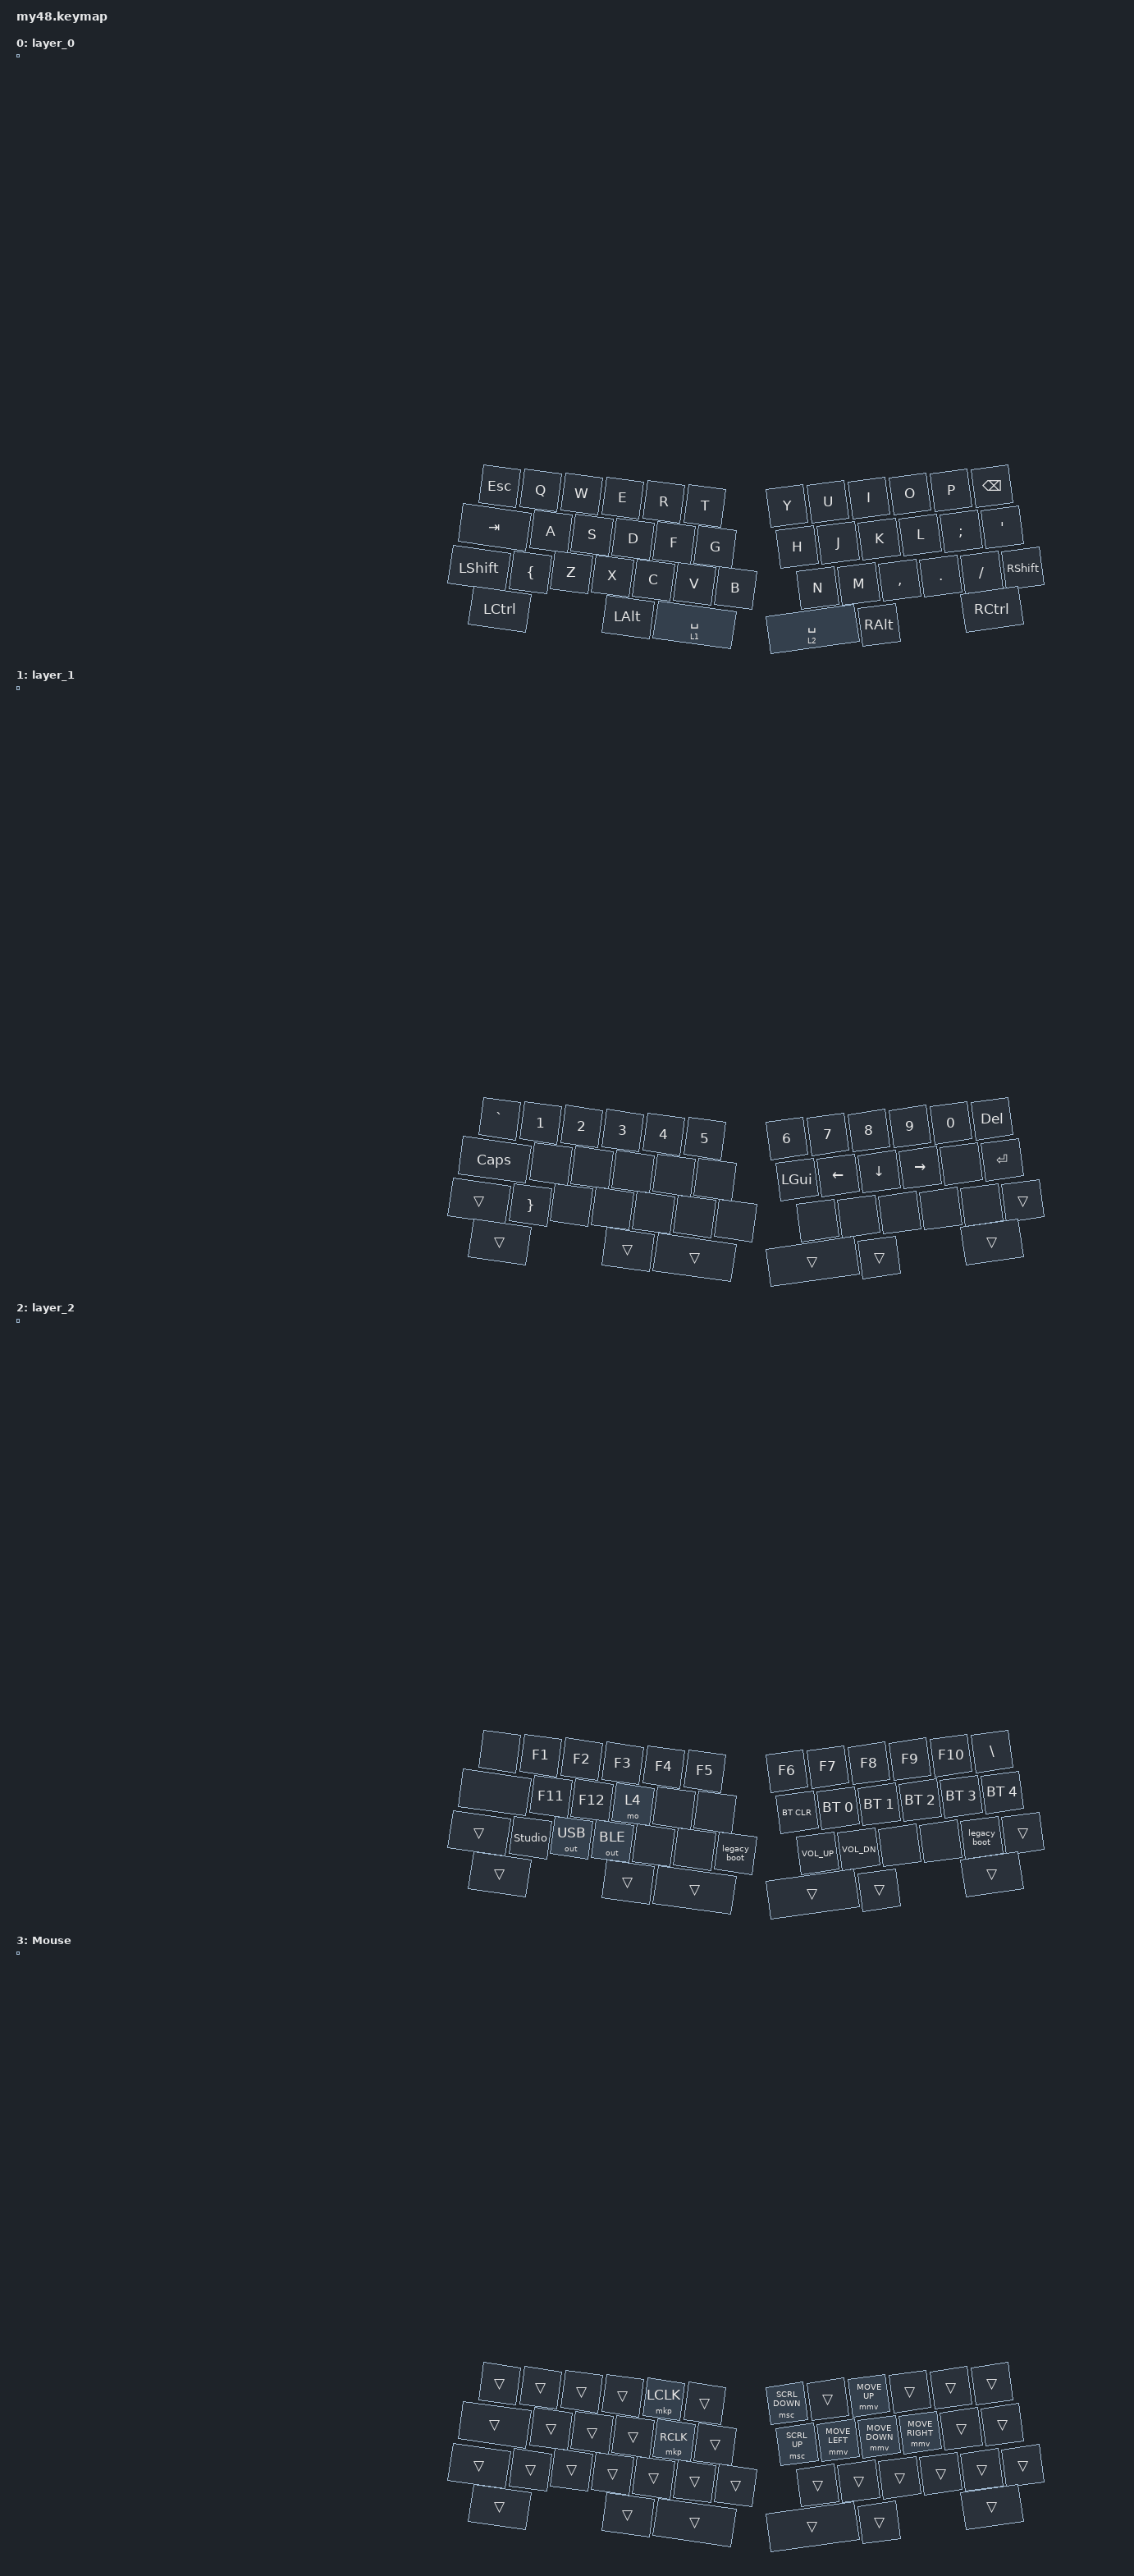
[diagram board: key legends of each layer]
#include <dt-bindings/zmk/keys.h>
#include <dt-bindings/zmk/bt.h>
#include <dt-bindings/zmk/outputs.h>
#include <dt-bindings/zmk/pointing.h>
#include <behaviors.dtsi>

/ {
    behaviors {
        legacy_boot: behavior_legacy_boot {
            compatible = "zmk,behavior-legacy-bootloader";
            display-name = "Legacy Bootloader";
            #binding-cells = <0>;
        };
    };

    keymap {
        compatible = "zmk,keymap";

        layer_0 {
            bindings = <
                &kp ESC &kp Q &kp W &kp E &kp R &kp T &kp Y &kp U &kp I &kp O &kp P &kp BSPC
                &kp TAB &kp A &kp S &kp D &kp F &kp G &kp H &kp J &kp K &kp L &kp SEMI &kp SQT
                &kp LSHFT &kp Z &kp X &kp C &kp V &kp B &kp N &kp M &kp COMMA &kp DOT &kp FSLH &kp RSHFT
                &kp LCTRL &kp LBRC &kp LALT &none &lt 1 SPACE &none &lt 2 SPACE &kp RALT &none &none &none &kp RCTRL
            >;
        };

        layer_1 {
            bindings = <
                &kp GRAVE &kp N1 &kp N2 &kp N3 &kp N4 &kp N5 &kp N6 &kp N7 &kp N8 &kp N9 &kp N0 &kp DEL
                &kp CAPS &none &none &none &none &none &kp LGUI &kp LEFT &kp DOWN &kp RIGHT &none &kp ENTER
                &trans &none &none &none &none &none &none &none &none &none &none &trans
                &trans &kp RBRC &trans &none &trans &none &trans &trans &none &none &none &trans
            >;
        };

        layer_2 {
            bindings = <
                &none &kp F1 &kp F2 &kp F3 &kp F4 &kp F5 &kp F6 &kp F7 &kp F8 &kp F9 &kp F10 &kp BSLH
                &none &kp F11 &kp F12 &mo 4 &none &none &bt BT_CLR &bt BT_SEL 0 &bt BT_SEL 1 &bt BT_SEL 2 &bt BT_SEL 3 &bt BT_SEL 4
                &trans &out OUT_USB &out OUT_BLE &none &none &legacy_boot &kp C_VOL_UP &kp C_VOL_DN &none &none &legacy_boot &trans
                &trans &studio_unlock &trans &none &trans &none &trans &trans &none &none &none &trans
            >;
        };

        // Layers 3-11: reserved for ZMK Studio to configure (mouse keys, etc.)
        layer_3 { status = "reserved"; display-name = "Layer 4"; };
        // Layer 5 (index 4): mouse keys. Parameters are baked in here because
        // ZMK Studio does not expose parameter metadata for &mmv / &msc.
        // Row 0: r=left click, y=scroll down, i=move up
        // Row 1: f=right click, h=scroll up, j=left, k=down, l=right
        layer_4 {
            display-name = "Mouse";
            bindings = <
                &trans &trans &trans &trans &mkp LCLK &trans &msc SCRL_DOWN &trans &mmv MOVE_UP &trans &trans &trans
                &trans &trans &trans &trans &mkp RCLK &trans &msc SCRL_UP &mmv MOVE_LEFT &mmv MOVE_DOWN &mmv MOVE_RIGHT &trans &trans
                &trans &trans &trans &trans &trans &trans &trans &trans &trans &trans &trans &trans
                &trans &trans &trans &none &trans &none &trans &trans &none &none &none &trans
            >;
        };
        layer_5 { status = "reserved"; display-name = "Layer 6"; };
        layer_6 { status = "reserved"; display-name = "Layer 7"; };
        layer_7 { status = "reserved"; display-name = "Layer 8"; };
        layer_8 { status = "reserved"; display-name = "Layer 9"; };
        layer_9 { status = "reserved"; display-name = "Layer 10"; };
        layer_10 { status = "reserved"; display-name = "Layer 11"; };
        layer_11 { status = "reserved"; display-name = "Layer 12"; };
    };
};
